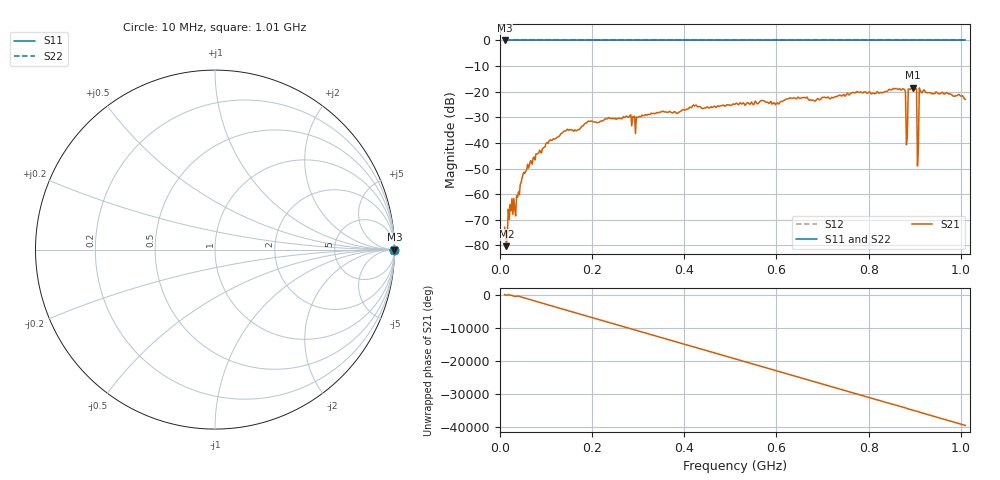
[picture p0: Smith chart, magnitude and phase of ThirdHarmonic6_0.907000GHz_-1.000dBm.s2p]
! 8/16/2025 5:43:00 AM
! C:\ANRITSUVNA\TEMP\TEMP.S2P
! CHANNEL.1
! TR.MEASUREMENT
! RAW.DATA
! RF.CORRECTION.OFF
! AVERAGING.OFF
! IF.BANDWIDTH: 5KHZ
! SWEEPTYPE:  FREQ.SWEEP(Linear)
! Reference Plane Port Info
! PORT:  PORT1  PORT2
! DISTANCE:  0  m  0  m
! TIME:  0  s  0  s
! PHASE.OFFSET:  0  deg.  0  deg.
! LOSS:  0  dB  0  dB
! REF.LOSS:  0  dB  0  dB
! REF.FREQ:  0  Hz  0  Hz
! Power Info
! POWER:  -20  dBm  -20  dBm
! EFF.POWER:  -20  dBm  -20  dBm
! SOURCE.ATTEN:  0  dB  0  dB
! TEST.ATTEN:  0  dB  0  dB
# GHZ S RI R 50.0
! FREQ.GHZ  S11RE  S11IM  S21RE  S21IM  S12RE  S12IM  S22RE  S22IM
!; PortSelection: Port_12
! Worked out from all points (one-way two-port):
!   501 points, 10 MHz to 1.01 GHz, reference 50 ohm
!   highest |S21| = -18.38 dB at 896 MHz (marker M1); lowest = -80.3 dB at 14 MHz (marker M2)
!   lowest |S11| = 0.0 dB at 10 MHz (marker M3)
!   |S11| at or under -10 dB: nowhere
!   |S22| runs from 0.0 to 0.0 dB; largest |S21 - S12| = 1.1
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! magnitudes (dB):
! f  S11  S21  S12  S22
! 10 MHz  0.0  -73.0  0.0  0.0
! 14 MHz  0.0  -80.3  0.0  0.0
! 22 MHz  0.0  -64.1  0.0  0.0
! 32 MHz  0.0  -65.9  0.0  0.0
! 48 MHz  0.0  -53.6  0.0  0.0
! 64 MHz  0.0  -48.6  0.0  0.0
! 106 MHz  0.0  -39.4  0.0  0.0
! 178 MHz  0.0  -33.5  0.0  0.0
! 344 MHz  0.0  -28.2  0.0  0.0
! 510 MHz  0.0  -24.9  0.0  0.0
! 678 MHz  0.0  -23.3  0.0  0.0
! 844 MHz  0.0  -19.2  0.0  0.0
! 876 MHz  0.0  -19.0  0.0  0.0
! 882 MHz  0.0  -40.7  0.0  0.0
! 886 MHz  0.0  -19.0  0.0  0.0
! 890 MHz  0.0  -19.2  0.0  0.0
! 896 MHz  0.0  -18.4  0.0  0.0
! 900 MHz  0.0  -19.0  0.0  0.0
! 904 MHz  0.0  -19.0  0.0  0.0
! 910 MHz  0.0  -18.5  0.0  0.0
! 914 MHz  0.0  -20.4  0.0  0.0
! 1.01 GHz  0.0  -22.9  0.0  0.0
